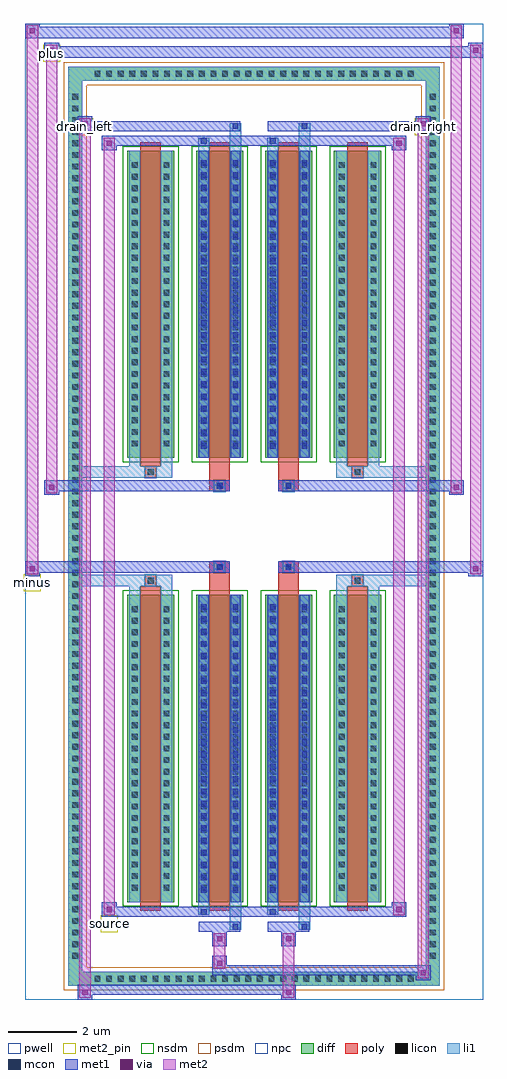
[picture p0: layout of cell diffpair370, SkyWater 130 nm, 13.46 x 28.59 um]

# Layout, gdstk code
import gdstk
lib = gdstk.Library(unit=1e-6, precision=5e-09)
def R(c, l, rs):  # rectangles x0, y0, x1, y1
    for r in rs: c.add(gdstk.rectangle(r[:2], r[2:], *l))
def A(c, l, x, y, w, h, nx, ny, dx, dy):  # array of equal rectangles
    R(c, l, [(x+i*dx, y+j*dy, x+i*dx+w, y+j*dy+h) for i in range(nx) for j in range(ny)])
def P(c, l, *ps):  # polygons
    for p in ps: c.add(gdstk.Polygon(p, *l))
pwell = (64, 44)
diff = (65, 20)
poly = (66, 20)
licon = (66, 44)
li1 = (67, 20)
mcon = (67, 44)
met1 = (68, 20)
via = (68, 44)
met2_pin = (69, 16)
met2 = (69, 20)
nsdm = (93, 44)
psdm = (94, 20)
npc = (95, 20)

diffpair370 = lib.new_cell('diffpair370')
R(diffpair370, pwell, [(-6.71,-13.86,6.71,14.73), (-4.03,-12.05,-0.01,-0.825), (0.01,-12.05,4.03,-0.825), (-4.03,0.825,-0.01,12.05), (0.01,0.825,4.03,12.05)])
A(diffpair370, diff, -4.795, -13.46, 0.41, 0.41, 28, 2, 0.34, 26.51)
A(diffpair370, diff, -5.44, -12.785, 0.41, 0.41, 1, 75, 0, 0.34)
A(diffpair370, diff, 5.03, -12.785, 0.41, 0.41, 1, 75, 0, 0.34)
A(diffpair370, diff, -3.72, -11.005, 1.38, 9, 4, 2, 2.02, 13.01)
R(diffpair370, diff, [(-4.795,-13.46,4.795,-13.05), (-5.44,-12.785,-5.03,12.785), (5.03,-12.785,5.44,12.785), (-4.795,13.05,4.795,13.46)])
P(diffpair370, diff, [(5.44,13.46),(-5.44,13.46),(-5.44,-13.05),(-5.03,-13.05),(-5.03,13.05),(5.03,13.05),(5.03,-13.05),(-5.03,-13.05),(-5.44,-13.05),(-5.44,-13.46),(5.44,-13.46)])
A(diffpair370, poly, -3.33, -11.255, 0.6, 9.5, 4, 2, 2.02, 13.01)
R(diffpair370, poly, [(-3.195,-1.755,-2.865,-1.425), (-3.195,-1.755,-2.865,-1.425), (-1.31,-1.755,-0.71,-1.355), (0.71,-1.755,1.31,-1.355), (2.865,-1.755,3.195,-1.425), (2.865,-1.755,3.195,-1.425), (-1.31,-1.355,-0.71,-1.025), (-1.175,-1.355,-0.845,-1.025), (0.71,-1.355,1.31,-1.025), (0.845,-1.355,1.175,-1.025), (-1.31,1.025,-0.71,1.355), (-1.175,1.025,-0.845,1.355), (0.71,1.025,1.31,1.355), (0.845,1.025,1.175,1.355), (-1.31,1.355,-0.71,1.755), (0.71,1.355,1.31,1.755), (-3.195,1.425,-2.865,1.755), (-3.195,1.425,-2.865,1.755), (2.865,1.425,3.195,1.755), (2.865,1.425,3.195,1.755)])
A(diffpair370, licon, -4.675, -13.34, 0.17, 0.17, 28, 2, 0.34, 26.51)
A(diffpair370, licon, -5.32, -12.665, 0.17, 0.17, 1, 75, 0, 0.34)
A(diffpair370, licon, 5.15, -12.665, 0.17, 0.17, 1, 75, 0, 0.34)
A(diffpair370, licon, -3.58, -10.67, 0.17, 0.17, 1, 25, 0, 0.34)
A(diffpair370, licon, -2.65, -10.67, 0.17, 0.17, 1, 25, 0, 0.34)
A(diffpair370, licon, -1.56, -10.67, 0.17, 0.17, 1, 25, 0, 0.34)
A(diffpair370, licon, -0.63, -10.67, 0.17, 0.17, 1, 25, 0, 0.34)
A(diffpair370, licon, 0.46, -10.67, 0.17, 0.17, 1, 25, 0, 0.34)
A(diffpair370, licon, 1.39, -10.67, 0.17, 0.17, 1, 25, 0, 0.34)
A(diffpair370, licon, 2.48, -10.67, 0.17, 0.17, 1, 25, 0, 0.34)
A(diffpair370, licon, 3.41, -10.67, 0.17, 0.17, 1, 25, 0, 0.34)
A(diffpair370, licon, -3.58, 2.34, 0.17, 0.17, 1, 25, 0, 0.34)
A(diffpair370, licon, -2.65, 2.34, 0.17, 0.17, 1, 25, 0, 0.34)
A(diffpair370, licon, -1.56, 2.34, 0.17, 0.17, 1, 25, 0, 0.34)
A(diffpair370, licon, -0.63, 2.34, 0.17, 0.17, 1, 25, 0, 0.34)
A(diffpair370, licon, 0.46, 2.34, 0.17, 0.17, 1, 25, 0, 0.34)
A(diffpair370, licon, 1.39, 2.34, 0.17, 0.17, 1, 25, 0, 0.34)
A(diffpair370, licon, 2.48, 2.34, 0.17, 0.17, 1, 25, 0, 0.34)
A(diffpair370, licon, 3.41, 2.34, 0.17, 0.17, 1, 25, 0, 0.34)
R(diffpair370, licon, [(-3.115,-1.675,-2.945,-1.505), (2.945,-1.675,3.115,-1.505), (-1.095,-1.275,-0.925,-1.105), (0.925,-1.275,1.095,-1.105), (-1.095,1.105,-0.925,1.275), (0.925,1.105,1.095,1.275), (-3.115,1.505,-2.945,1.675), (2.945,1.505,3.115,1.675)])
A(diffpair370, li1, -4.755, -13.42, 0.33, 0.33, 28, 2, 0.34, 26.51)
A(diffpair370, li1, -5.4, -12.745, 0.33, 0.33, 1, 75, 0, 0.34)
A(diffpair370, li1, 5.07, -12.745, 0.33, 0.33, 1, 75, 0, 0.34)
A(diffpair370, li1, -3.66, -10.75, 0.33, 0.33, 1, 25, 0, 0.34)
A(diffpair370, li1, -2.73, -10.75, 0.33, 0.33, 1, 25, 0, 0.34)
A(diffpair370, li1, -1.64, -10.75, 0.33, 0.33, 1, 25, 0, 0.34)
A(diffpair370, li1, -0.71, -10.75, 0.33, 0.33, 1, 25, 0, 0.34)
A(diffpair370, li1, 0.38, -10.75, 0.33, 0.33, 1, 25, 0, 0.34)
A(diffpair370, li1, 1.31, -10.75, 0.33, 0.33, 1, 25, 0, 0.34)
A(diffpair370, li1, 2.4, -10.75, 0.33, 0.33, 1, 25, 0, 0.34)
A(diffpair370, li1, 3.33, -10.75, 0.33, 0.33, 1, 25, 0, 0.34)
A(diffpair370, li1, -1.56, -10.73, 0.17, 0.17, 1, 24, 0, 0.36)
A(diffpair370, li1, -0.63, -10.73, 0.17, 0.17, 1, 24, 0, 0.36)
A(diffpair370, li1, 0.46, -10.73, 0.17, 0.17, 1, 24, 0, 0.36)
A(diffpair370, li1, 1.39, -10.73, 0.17, 0.17, 1, 24, 0, 0.36)
A(diffpair370, li1, -3.66, 2.26, 0.33, 0.33, 1, 25, 0, 0.34)
A(diffpair370, li1, -2.73, 2.26, 0.33, 0.33, 1, 25, 0, 0.34)
A(diffpair370, li1, -1.64, 2.26, 0.33, 0.33, 1, 25, 0, 0.34)
A(diffpair370, li1, -0.71, 2.26, 0.33, 0.33, 1, 25, 0, 0.34)
A(diffpair370, li1, 0.38, 2.26, 0.33, 0.33, 1, 25, 0, 0.34)
A(diffpair370, li1, 1.31, 2.26, 0.33, 0.33, 1, 25, 0, 0.34)
A(diffpair370, li1, 2.4, 2.26, 0.33, 0.33, 1, 25, 0, 0.34)
A(diffpair370, li1, 3.33, 2.26, 0.33, 0.33, 1, 25, 0, 0.34)
A(diffpair370, li1, -1.56, 2.28, 0.17, 0.17, 1, 24, 0, 0.36)
A(diffpair370, li1, -0.63, 2.28, 0.17, 0.17, 1, 24, 0, 0.36)
A(diffpair370, li1, 0.46, 2.28, 0.17, 0.17, 1, 24, 0, 0.36)
A(diffpair370, li1, 1.39, 2.28, 0.17, 0.17, 1, 24, 0, 0.36)
R(diffpair370, li1, [(-5.44,-13.46,-5.03,-13.05), (-5.44,-13.46,-5.03,-13.05), (-5.03,-13.46,5.03,-13.05), (5.03,-13.46,5.44,-13.05), (5.03,-13.46,5.44,-13.05), (-5.44,-13.05,-5.03,13.05), (5.03,-13.05,5.44,13.05), (-0.71,-11.81,-0.38,-11.005), (-0.63,-11.81,-0.46,-11.64), (1.31,-11.81,1.64,-11.005), (1.39,-11.81,1.56,-11.64), (-1.64,-11.38,-1.31,-11.005), (-1.56,-11.38,-1.39,-11.21), (0.38,-11.38,0.71,-11.005), (0.46,-11.38,0.63,-11.21), (-3.66,-11.005,-3.33,-2.005), (-2.73,-11.005,-2.4,-2.005), (-1.64,-11.005,-1.31,-2.005), (-0.71,-11.005,-0.38,-2.005), (0.38,-11.005,0.71,-2.005), (1.31,-11.005,1.64,-2.005), (2.4,-11.005,2.73,-2.005), (3.33,-11.005,3.66,-2.005), (-1.56,-10.73,-1.39,-2.28), (-0.63,-10.73,-0.46,-2.28), (0.46,-10.73,0.63,-2.28), (1.39,-10.73,1.56,-2.28), (-3.66,-2.005,-3.33,-1.425), (-2.73,-2.005,-2.4,-1.425), (2.4,-2.005,2.73,-1.425), (3.33,-2.005,3.66,-1.425), (-5.44,-1.755,-3.195,-1.425), (-3.66,-1.755,-3.195,-1.425), (-3.195,-1.755,-2.865,-1.425), (-2.865,-1.755,-2.4,-1.425), (2.4,-1.755,2.865,-1.425), (2.865,-1.755,3.195,-1.425), (2.865,-1.755,5.44,-1.425), (3.195,-1.755,3.66,-1.425), (-1.175,-1.355,-0.845,-1.025), (0.845,-1.355,1.175,-1.025), (-1.175,1.025,-0.845,1.355), (0.845,1.025,1.175,1.355), (-5.44,1.425,-3.195,1.755), (-3.66,1.425,-3.195,1.755), (-3.66,1.425,-3.33,2.005), (-3.195,1.425,-2.865,1.755), (-2.865,1.425,-2.4,1.755), (-2.73,1.425,-2.4,2.005), (2.4,1.425,2.865,1.755), (2.4,1.425,2.73,2.005), (2.865,1.425,3.195,1.755), (2.865,1.425,5.44,1.755), (3.195,1.425,3.66,1.755), (3.33,1.425,3.66,2.005), (-3.66,2.005,-3.33,11.005), (-2.73,2.005,-2.4,11.005), (-1.64,2.005,-1.31,11.005), (-0.71,2.005,-0.38,11.005), (0.38,2.005,0.71,11.005), (1.31,2.005,1.64,11.005), (2.4,2.005,2.73,11.005), (3.33,2.005,3.66,11.005), (-1.56,2.28,-1.39,10.73), (-0.63,2.28,-0.46,10.73), (0.46,2.28,0.63,10.73), (1.39,2.28,1.56,10.73), (-1.64,11.005,-1.31,11.38), (-0.71,11.005,-0.38,11.81), (0.38,11.005,0.71,11.38), (1.31,11.005,1.64,11.81), (-1.56,11.21,-1.39,11.38), (0.46,11.21,0.63,11.38), (-0.63,11.64,-0.46,11.81), (1.39,11.64,1.56,11.81), (-5.44,13.05,-5.03,13.46), (-5.44,13.05,-5.03,13.46), (-5.03,13.05,5.03,13.46), (5.03,13.05,5.44,13.46), (5.03,13.05,5.44,13.46)])
A(diffpair370, mcon, -1.56, -10.73, 0.17, 0.17, 1, 24, 0, 0.36)
A(diffpair370, mcon, -0.63, -10.73, 0.17, 0.17, 1, 24, 0, 0.36)
A(diffpair370, mcon, 0.46, -10.73, 0.17, 0.17, 1, 24, 0, 0.36)
A(diffpair370, mcon, 1.39, -10.73, 0.17, 0.17, 1, 24, 0, 0.36)
A(diffpair370, mcon, -1.56, 2.28, 0.17, 0.17, 1, 24, 0, 0.36)
A(diffpair370, mcon, -0.63, 2.28, 0.17, 0.17, 1, 24, 0, 0.36)
A(diffpair370, mcon, 0.46, 2.28, 0.17, 0.17, 1, 24, 0, 0.36)
A(diffpair370, mcon, 1.39, 2.28, 0.17, 0.17, 1, 24, 0, 0.36)
R(diffpair370, mcon, [(-0.63,-11.81,-0.46,-11.64), (1.39,-11.81,1.56,-11.64), (-1.56,-11.38,-1.39,-11.21), (0.46,-11.38,0.63,-11.21), (-1.095,-1.275,-0.925,-1.105), (0.925,-1.275,1.095,-1.105), (-1.095,1.105,-0.925,1.275), (0.925,1.105,1.095,1.275), (-1.56,11.21,-1.39,11.38), (0.46,11.21,0.63,11.38), (-0.63,11.64,-0.46,11.81), (1.39,11.64,1.56,11.81)])
A(diffpair370, met1, -1.62, -10.79, 0.29, 0.29, 1, 24, 0, 0.36)
A(diffpair370, met1, -0.69, -10.79, 0.29, 0.29, 1, 24, 0, 0.36)
A(diffpair370, met1, 0.4, -10.79, 0.29, 0.29, 1, 24, 0, 0.36)
A(diffpair370, met1, 1.33, -10.79, 0.29, 0.29, 1, 24, 0, 0.36)
A(diffpair370, met1, -1.62, 2.22, 0.29, 0.29, 1, 24, 0, 0.36)
A(diffpair370, met1, -0.69, 2.22, 0.29, 0.29, 1, 24, 0, 0.36)
A(diffpair370, met1, 0.4, 2.22, 0.29, 0.29, 1, 24, 0, 0.36)
A(diffpair370, met1, 1.33, 2.22, 0.29, 0.29, 1, 24, 0, 0.36)
R(diffpair370, met1, [(-5.17,-13.86,-4.74,-13.43), (0.795,-13.86,1.225,-13.43), (-5.17,-13.72,1.225,-13.43), (4.74,-13.29,5.17,-12.86), (-1.225,-13.15,5.17,-12.86), (-1.225,-13.01,-0.795,-12.58), (-1.225,-12.3,-0.795,-11.87), (0.795,-12.3,1.225,-11.87), (-1.62,-11.87,-0.4,-11.58), (-0.69,-11.87,-0.4,-11.58), (0.4,-11.87,1.62,-11.58), (1.33,-11.87,1.62,-11.58), (-4.46,-11.44,-4.03,-11.01), (-4.46,-11.44,-1.62,-11.15), (-1.62,-11.44,-1.33,-11.15), (-1.62,-11.44,-0.4,-11.15), (-0.4,-11.44,0.4,-11.15), (0.4,-11.44,0.69,-11.15), (0.4,-11.44,1.62,-11.15), (1.62,-11.44,4.46,-11.15), (4.03,-11.44,4.46,-11.01), (-1.62,-11.005,-1.33,-2.005), (-0.69,-11.005,-0.4,-2.005), (0.4,-11.005,0.69,-2.005), (1.33,-11.005,1.62,-2.005), (-6.71,-1.455,-6.28,-1.025), (6.28,-1.455,6.71,-1.025), (-6.71,-1.355,-0.71,-1.025), (-1.31,-1.355,-0.71,-1.025), (0.71,-1.355,1.31,-1.025), (0.71,-1.355,6.71,-1.025), (-1.155,-1.335,-0.865,-1.045), (0.865,-1.335,1.155,-1.045), (-6.14,0.925,-5.71,1.355), (5.71,0.925,6.14,1.355), (-6.14,1.025,-1.31,1.355), (-1.31,1.025,-0.71,1.355), (0.71,1.025,1.31,1.355), (1.31,1.025,6.14,1.355), (-1.155,1.045,-0.865,1.335), (0.865,1.045,1.155,1.335), (-1.62,2.005,-1.33,11.005), (-0.69,2.005,-0.4,11.005), (0.4,2.005,0.69,11.005), (1.33,2.005,1.62,11.005), (-4.46,11.01,-4.03,11.44), (4.03,11.01,4.46,11.44), (-4.46,11.15,-1.62,11.44), (-1.62,11.15,-1.33,11.44), (-1.62,11.15,-0.4,11.44), (-0.4,11.15,0.4,11.44), (0.4,11.15,0.69,11.44), (0.4,11.15,1.62,11.44), (1.62,11.15,4.46,11.44), (-5.17,11.58,-4.74,12.01), (-5.17,11.58,-1.62,11.87), (-1.62,11.58,-0.4,11.87), (-0.69,11.58,-0.4,11.87), (0.4,11.58,1.62,11.87), (1.33,11.58,1.62,11.87), (1.62,11.58,5.17,11.87), (4.74,11.58,5.17,12.01), (-6.14,13.73,-5.71,14.16), (-6.14,13.73,-4.03,14.06), (-4.03,13.73,4.03,14.06), (4.03,13.73,6.71,14.06), (6.28,13.73,6.71,14.16), (-6.71,14.3,-6.28,14.73), (-6.71,14.3,-4.03,14.63), (-4.03,14.3,4.03,14.63), (4.03,14.3,6.14,14.63), (5.71,14.3,6.14,14.73)])
R(diffpair370, via, [(-5.03,-13.72,-4.88,-13.57), (0.935,-13.72,1.085,-13.57), (4.88,-13.15,5.03,-13), (-1.085,-12.87,-0.935,-12.72), (-1.085,-12.16,-0.935,-12.01), (0.935,-12.16,1.085,-12.01), (-4.32,-11.3,-4.17,-11.15), (4.17,-11.3,4.32,-11.15), (-6.57,-1.315,-6.42,-1.165), (6.42,-1.315,6.57,-1.165), (-6,1.065,-5.85,1.215), (5.85,1.065,6,1.215), (-4.32,11.15,-4.17,11.3), (4.17,11.15,4.32,11.3), (-5.03,11.72,-4.88,11.87), (4.88,11.72,5.03,11.87), (-6,13.87,-5.85,14.02), (6.42,13.87,6.57,14.02), (-6.57,14.44,-6.42,14.59), (5.85,14.44,6,14.59)])
R(diffpair370, met2_pin, [(-4.495,-11.89,-3.995,-11.39), (-6.745,-1.905,-6.245,-1.405), (-5.205,11.46,-4.705,11.96), (4.705,11.46,5.205,11.96), (-6.175,13.61,-5.675,14.11)])
R(diffpair370, met2, [(-5.12,-13.81,-4.79,-13.48), (-5.12,-13.81,-4.79,11.96), (0.845,-13.81,1.175,-13.48), (0.845,-13.48,1.175,-12.25), (4.79,-13.24,5.12,-12.91), (4.79,-13.24,5.12,11.96), (-1.175,-12.96,-0.845,-12.63), (-1.175,-12.63,-0.845,-12.25), (-1.175,-12.25,-0.845,-11.92), (0.845,-12.25,1.175,-11.92), (-4.41,-11.39,-4.08,-11.06), (-4.41,-11.39,-4.08,11.39), (4.08,-11.39,4.41,-11.06), (4.08,-11.39,4.41,11.39), (-6.66,-1.405,-6.33,-1.075), (-6.66,-1.405,-6.33,14.68), (6.33,-1.405,6.66,-1.075), (6.33,-1.405,6.66,14.11), (-6.09,0.975,-5.76,1.305), (-6.09,0.975,-5.76,14.11), (5.76,0.975,6.09,1.305), (5.76,0.975,6.09,14.68), (-4.41,11.06,-4.08,11.39), (4.08,11.06,4.41,11.39), (-5.12,11.63,-4.79,11.96), (4.79,11.63,5.12,11.96), (-6.09,13.78,-5.76,14.11), (6.33,13.78,6.66,14.11), (-6.66,14.35,-6.33,14.68), (5.76,14.35,6.09,14.68)])
P(diffpair370, met2, [(6.66,-1.405),(6.66,-1.405),(6.66,-1.075),(6.66,-1.075)],
  [(6.66,13.78),(6.66,13.78),(6.66,14.11),(6.66,14.11)],
  [(-6.33,-1.405),(-6.33,-1.405),(-6.33,-1.075),(-6.33,-1.075)],
  [(-6.33,14.35),(-6.33,14.35),(-6.33,14.68),(-6.33,14.68)],
  [(6.09,0.975),(6.09,0.975),(6.09,1.305),(6.09,1.305)],
  [(6.09,14.35),(6.09,14.35),(6.09,14.68),(6.09,14.68)],
  [(-5.76,0.975),(-5.76,0.975),(-5.76,1.305),(-5.76,1.305)],
  [(-5.76,13.78),(-5.76,13.78),(-5.76,14.11),(-5.76,14.11)],
  [(-4.79,-13.81),(-4.79,-13.81),(-4.79,-13.48),(-4.79,-13.48)],
  [(-4.79,11.63),(-4.79,11.63),(-4.79,11.96),(-4.79,11.96)],
  [(5.12,-13.24),(5.12,-13.24),(5.12,-12.91),(5.12,-12.91)],
  [(5.12,11.63),(5.12,11.63),(5.12,11.96),(5.12,11.96)],
  [(-4.08,-11.39),(-4.08,-11.39),(-4.08,-11.06),(-4.08,-11.06)],
  [(-4.08,11.06),(-4.08,11.06),(-4.08,11.39),(-4.08,11.39)],
  [(4.41,-11.39),(4.41,-11.39),(4.41,-11.06),(4.41,-11.06)],
  [(4.41,11.06),(4.41,11.06),(4.41,11.39),(4.41,11.39)])
A(diffpair370, nsdm, -3.85, -11.135, 1.64, 9.26, 4, 2, 2.02, 13.01)
P(diffpair370, psdm, [(5.57,13.59),(-5.57,13.59),(-5.57,-12.92),(-4.9,-12.92),(-4.9,12.92),(4.9,12.92),(4.9,-12.92),(-4.9,-12.92),(-5.57,-12.92),(-5.57,-13.59),(5.57,-13.59)])
R(diffpair370, npc, [(-3.215,-1.775,-2.845,-1.405), (2.845,-1.775,3.215,-1.405), (-1.195,-1.375,-0.825,-1.005), (0.825,-1.375,1.195,-1.005), (-1.195,1.005,-0.825,1.375), (0.825,1.005,1.195,1.375), (-3.215,1.405,-2.845,1.775), (2.845,1.405,3.215,1.775)])
diffpair370.add(gdstk.Label('minus', (-6.495,-1.655), layer=69, texttype=5))
diffpair370.add(gdstk.Label('drain_right', (4.955,11.71), layer=69, texttype=5))
diffpair370.add(gdstk.Label('drain_left', (-4.955,11.71), layer=69, texttype=5))
diffpair370.add(gdstk.Label('source', (-4.245,-11.64), layer=69, texttype=5))
diffpair370.add(gdstk.Label('plus', (-5.925,13.86), layer=69, texttype=5))

lib.write_gds('diffpair370.gds')
